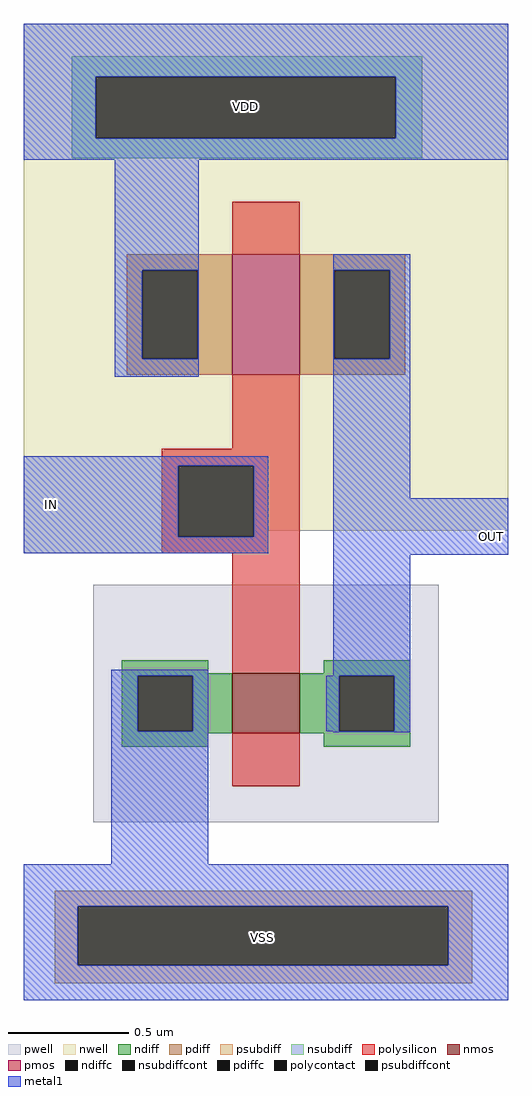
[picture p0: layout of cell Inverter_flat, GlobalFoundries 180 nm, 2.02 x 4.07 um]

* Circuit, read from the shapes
.subckt Inverter_flat VDD VSS IN OUT
XM1 OUT IN VSS VSS nfet_03v3 w=0.25u l=0.28u
XM2 OUT IN VDD VDD pfet_03v3 w=0.5u l=0.28u
.ends

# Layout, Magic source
magic
tech gf180mcuC
magscale 1 10
<< nwell >>
rect -118 177 286 599
rect -118 158 86 177
<< pwell >>
rect -60 -66 228 132
<< nmos >>
rect 56 8 112 58
<< pmos >>
rect 56 307 112 407
<< ndiff >>
rect -36 58 36 69
rect 132 58 204 69
rect -36 56 56 58
rect -36 10 -23 56
rect 23 10 56 56
rect -36 8 56 10
rect 112 56 204 58
rect 112 10 145 56
rect 191 10 204 56
rect 112 8 204 10
rect -36 -3 36 8
rect 132 -3 204 8
<< pdiff >>
rect -32 394 56 407
rect -32 320 -19 394
rect 27 320 56 394
rect -32 307 56 320
rect 112 394 200 407
rect 112 320 141 394
rect 187 320 200 394
rect 112 307 200 320
<< ndiffc >>
rect -23 10 23 56
rect 145 10 191 56
<< pdiffc >>
rect -19 320 27 394
rect 141 320 187 394
<< psubdiff >>
rect -92 -136 256 -123
rect -92 -185 -73 -136
rect 236 -185 256 -136
rect -92 -200 256 -185
<< nsubdiff >>
rect -78 555 214 572
rect -78 504 -58 555
rect 192 504 214 555
rect -78 487 214 504
<< psubdiffcont >>
rect -73 -185 236 -136
<< nsubdiffcont >>
rect -58 504 192 555
<< polysilicon >>
rect 56 407 112 451
rect 56 245 112 307
rect -3 231 112 245
rect -3 172 11 231
rect 74 172 112 231
rect -3 158 112 172
rect 56 58 112 158
rect 56 -36 112 8
<< polycontact >>
rect 11 172 74 231
<< metal1 >>
rect -118 555 286 599
rect -118 504 -58 555
rect 192 504 286 555
rect -118 486 286 504
rect -42 394 28 486
rect -42 320 -19 394
rect 27 320 28 394
rect -42 305 28 320
rect 140 394 204 407
rect 140 320 141 394
rect 187 320 204 394
rect -118 231 86 239
rect -118 172 11 231
rect 74 172 86 231
rect -118 158 86 172
rect 140 204 204 320
rect 140 157 286 204
rect -45 56 36 61
rect 140 56 204 157
rect -45 10 -23 56
rect 23 10 36 56
rect 134 10 145 56
rect 191 10 204 56
rect -45 -101 36 10
rect 140 9 204 10
rect -118 -136 286 -101
rect -118 -185 -73 -136
rect 236 -185 286 -136
rect -118 -214 286 -185
<< labels >>
flabel nsubdiffcont 67 530 67 530 0 FreeSans 640 0 0 0 VDD
port 1 nsew
flabel psubdiffcont 81 -162 81 -162 0 FreeSans 640 0 0 0 VSS
port 2 nsew
flabel metal1 -95 199 -95 199 0 FreeSans 640 0 0 0 IN
port 3 nsew
flabel metal1 272 172 272 172 0 FreeSans 640 0 0 0 OUT
port 5 nsew
<< end >>
